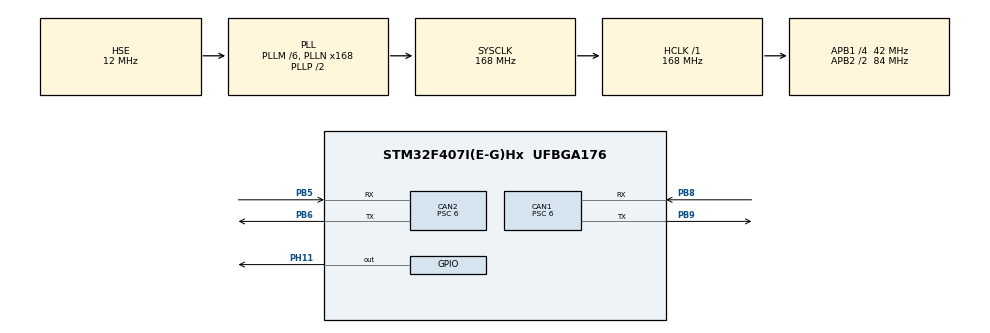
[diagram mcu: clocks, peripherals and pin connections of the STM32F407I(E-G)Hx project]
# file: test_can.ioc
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CAN1.BS1=CAN_BS1_3TQ
CAN1.BS2=CAN_BS2_3TQ
CAN1.CalculateBaudRate=1000000
CAN1.CalculateTimeBit=1000
CAN1.CalculateTimeQuantum=142.85714285714286
CAN1.Prescaler=6
CAN2.BS1=CAN_BS1_3TQ
CAN2.BS2=CAN_BS2_3TQ
CAN2.CalculateBaudRate=1000000
CAN2.CalculateTimeBit=1000
CAN2.CalculateTimeQuantum=142.85714285714286
CAN2.Prescaler=6
Mcu.Family=STM32F4
Mcu.Name=STM32F407I(E-G)Hx
Mcu.Package=UFBGA176
NVIC.PriorityGroup=NVIC_PRIORITYGROUP_4
PA13.Mode=Serial_Wire
PA13.Signal=SYS_JTMS-SWDIO
PA14.Mode=Serial_Wire
PA14.Signal=SYS_JTCK-SWCLK
PB5.Mode=CAN_Activate
PB5.Signal=CAN2_RX
PB6.Mode=CAN_Activate
PB6.Signal=CAN2_TX
PB8.Mode=CAN_Activate
PB8.Signal=CAN1_RX
PB9.Mode=CAN_Activate
PB9.Signal=CAN1_TX
PH0-OSC_IN.Mode=HSE-External-Oscillator
PH0-OSC_IN.Signal=RCC_OSC_IN
PH1-OSC_OUT.Mode=HSE-External-Oscillator
PH1-OSC_OUT.Signal=RCC_OSC_OUT
PH11.GPIO_PuPd=GPIO_PULLUP
PH11.Signal=GPIO_Output
ProjectManager.HeapSize=0x200
ProjectManager.StackSize=0x400
ProjectManager.TargetToolchain=MDK-ARM V5.32
RCC.48MHZClocksFreq_Value=84000000
RCC.AHBFreq_Value=168000000
RCC.APB1CLKDivider=RCC_HCLK_DIV4
RCC.APB1Freq_Value=42000000
RCC.APB1TimFreq_Value=84000000
RCC.APB2CLKDivider=RCC_HCLK_DIV2
RCC.APB2Freq_Value=84000000
RCC.APB2TimFreq_Value=168000000
RCC.CortexFreq_Value=168000000
RCC.HCLKFreq_Value=168000000
RCC.HSE_VALUE=12000000
RCC.HSI_VALUE=16000000
RCC.LSE_VALUE=32768
RCC.PLLM=6
RCC.PLLN=168
RCC.PLLSourceVirtual=RCC_PLLSOURCE_HSE
RCC.SYSCLKFreq_VALUE=168000000
RCC.SYSCLKSource=RCC_SYSCLKSOURCE_PLLCLK
RCC.VCOOutputFreq_Value=336000000
board=custom

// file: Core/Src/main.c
/* USER CODE BEGIN Header */
/**
  ******************************************************************************
  * @file           : main.c
  * @brief          : Main program body
  ******************************************************************************
  * @attention
  *
  * Copyright (c) 2025 STMicroelectronics.
  * All rights reserved.
  *
  * This software is licensed under terms that can be found in the LICENSE file
  * in the root directory of this software component.
  * If no LICENSE file comes with this software, it is provided AS-IS.
  *
  ******************************************************************************
  */
/* USER CODE END Header */
#include "main.h"
#include "can.h"
#include "gpio.h"

/* USER CODE BEGIN Includes */
#include "drv_can.h"
#include "drv_bsp.h"
/* USER CODE END Includes */

void SystemClock_Config(void);

/* USER CODE BEGIN 0 */
// ? Struct_CAN_Rx_Buffer ??? struct ???
void NuLL_Call_Back(struct Struct_CAN_Rx_Buffer *Rx_Buffer)
{

}
/* USER CODE END 0 */

int main(void)
{

  /* MCU Configuration--------------------------------------------------------*/

  /* Reset of all peripherals, Initializes the Flash interface and the Systick. */
  HAL_Init();

  /* Configure the system clock */
  SystemClock_Config();

  /* Initialize all configured peripherals */
  MX_GPIO_Init();
  MX_CAN1_Init();
  MX_CAN2_Init();
  /* USER CODE BEGIN 2 */

BSP_Init(BSP_DC24_LU_ON, 0.0f, 0.0f);
CAN_Init(&hcan1,NuLL_Call_Back);
  /* USER CODE END 2 */

  /* Infinite loop */
  /* USER CODE BEGIN WHILE */
	int16_t torque = 0;
  while (1)
  {
		while(torque<1000)
		{torque +=50;
			CAN1_0x200_Tx_Data[0] = torque >> 8;
			CAN1_0x200_Tx_Data[1] = torque;
			CAN_Send_Data(&hcan1 , 0x200 , CAN1_0x200_Tx_Data , 8);
			HAL_Delay(50);
		}
		while(torque>-1000)
		{torque -=50;
			CAN1_0x200_Tx_Data[0] = torque >> 8;
			CAN1_0x200_Tx_Data[1] = torque;
			CAN_Send_Data(&hcan1 , 0x200 , CAN1_0x200_Tx_Data , 8);
			HAL_Delay(50);
		}

    /* USER CODE END WHILE */

  }
}

void SystemClock_Config(void)
{
  RCC_OscInitTypeDef RCC_OscInitStruct = {0};
  RCC_ClkInitTypeDef RCC_ClkInitStruct = {0};

  /** Configure the main internal regulator output voltage
  */
  __HAL_RCC_PWR_CLK_ENABLE();
  __HAL_PWR_VOLTAGESCALING_CONFIG(PWR_REGULATOR_VOLTAGE_SCALE1);

  /** Initializes the RCC Oscillators according to the specified parameters
  * in the RCC_OscInitTypeDef structure.
  */
  RCC_OscInitStruct.OscillatorType = RCC_OSCILLATORTYPE_HSE;
  RCC_OscInitStruct.HSEState = RCC_HSE_ON;
  RCC_OscInitStruct.PLL.PLLState = RCC_PLL_ON;
  RCC_OscInitStruct.PLL.PLLSource = RCC_PLLSOURCE_HSE;
  RCC_OscInitStruct.PLL.PLLM = 6;
  RCC_OscInitStruct.PLL.PLLN = 168;
  RCC_OscInitStruct.PLL.PLLP = RCC_PLLP_DIV2;
  RCC_OscInitStruct.PLL.PLLQ = 4;
  if (HAL_RCC_OscConfig(&RCC_OscInitStruct) != HAL_OK)
  {
    Error_Handler();
  }

  /** Initializes the CPU, AHB and APB buses clocks
  */
  RCC_ClkInitStruct.ClockType = RCC_CLOCKTYPE_HCLK|RCC_CLOCKTYPE_SYSCLK
                              |RCC_CLOCKTYPE_PCLK1|RCC_CLOCKTYPE_PCLK2;
  RCC_ClkInitStruct.SYSCLKSource = RCC_SYSCLKSOURCE_PLLCLK;
  RCC_ClkInitStruct.AHBCLKDivider = RCC_SYSCLK_DIV1;
  RCC_ClkInitStruct.APB1CLKDivider = RCC_HCLK_DIV4;
  RCC_ClkInitStruct.APB2CLKDivider = RCC_HCLK_DIV2;

  if (HAL_RCC_ClockConfig(&RCC_ClkInitStruct, FLASH_LATENCY_5) != HAL_OK)
  {
    Error_Handler();
  }
}

void Error_Handler(void)
{
  __disable_irq();
  while (1)
  {
  }
}
